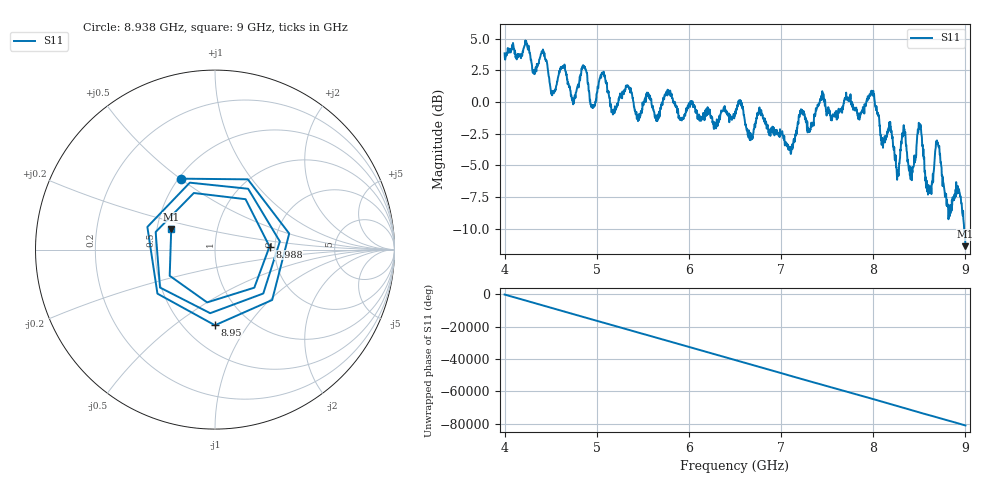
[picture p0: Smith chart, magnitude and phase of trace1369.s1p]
! Created with skrf 1.8.0 (http://scikit-rf.org).
# Hz S RI R 50.0
!freq ReS11 ImS11
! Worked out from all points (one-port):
!   1601 points, 4 GHz to 9 GHz, reference 50 ohm
!   lowest |S11| = -11.4 dB at 9 GHz (marker M1), VSWR 1.74, Z = 29.7 + j7.4 ohm
!   |S11| at or under -10 dB: 8.985982 GHz to end of sweep
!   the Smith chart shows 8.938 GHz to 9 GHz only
!   S11 on the Smith chart (normalised r, x): 8.938 GHz: 0.51, +0.50; 8.95 GHz: 0.70, -0.72; 8.988 GHz: 1.87, +0.07; 9 GHz: 0.59, +0.15
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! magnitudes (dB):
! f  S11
! 4 GHz  3.8
! 4.416 GHz  4.1
! 4.525 GHz  0.8
! 4.625 GHz  2.7
! 4.744 GHz  -0.2
! 4.859 GHz  2.7
! 4.956 GHz  -0.2
! 5.062 GHz  2.2
! 5.169 GHz  -0.7
! 5.25 GHz  0.5
! 5.875 GHz  -0.9
! 6.5 GHz  -1.1
! 7.125 GHz  -3.4
! 7.219 GHz  -0.6
! 7.75 GHz  0.2
! 7.988 GHz  0.9
! 8.256 GHz  -5.7
! 8.328 GHz  -2.1
! 8.375 GHz  -4.6
! 8.422 GHz  -5.4
! 8.503 GHz  -2.1
! 8.597 GHz  -6.8
! 8.697 GHz  -3.2
! 8.819 GHz  -9.1
! 8.938 GHz  -7.2
! 8.95 GHz  -7.5
! 8.988 GHz  -10.3
! 9 GHz  -11.4
